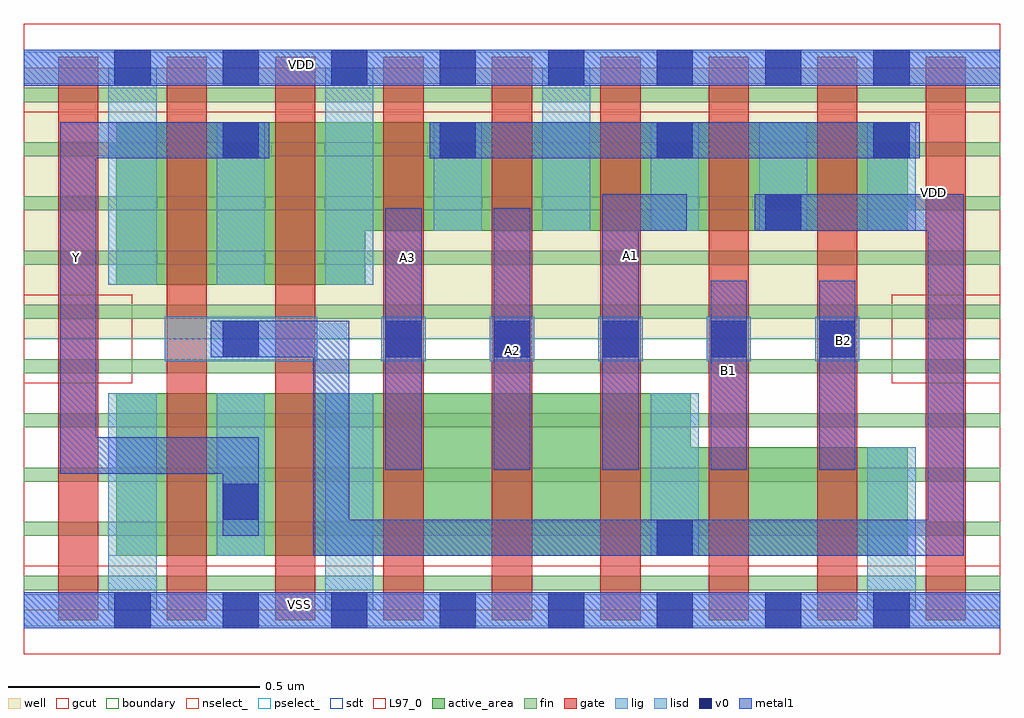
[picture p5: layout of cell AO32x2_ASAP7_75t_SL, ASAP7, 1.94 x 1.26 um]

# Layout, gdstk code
import gdstk
lib = gdstk.Library(unit=1e-6, precision=2.5e-10)
def R(c, l, rs):  # rectangles x0, y0, x1, y1
    for r in rs: c.add(gdstk.rectangle(r[:2], r[2:], *l))
def A(c, l, x, y, w, h, nx, ny, dx, dy):  # array of equal rectangles
    R(c, l, [(x+i*dx, y+j*dy, x+i*dx+w, y+j*dy+h) for i in range(nx) for j in range(ny)])
def P(c, l, *ps):  # polygons
    for p in ps: c.add(gdstk.Polygon(p, *l))
well = (1, 0)
fin = (2, 0)
gate = (7, 0)
gcut = (10, 0)
active_area = (11, 0)
nselect_ = (12, 0)
pselect_ = (13, 0)
lig = (16, 0)
lisd = (17, 0)
v0 = (18, 0)
metal1 = (19, 0)
sdt = (88, 0)
L97_0 = (97, 0)
boundary = (100, 0)

ao32x2_asap7_75t_sl = lib.new_cell('AO32x2_ASAP7_75t_SL')
R(ao32x2_asap7_75t_sl, well, [(0,0.54,1.944,1.08)])
A(ao32x2_asap7_75t_sl, fin, 0, 0.04, 1.944, 0.028, 1, 10, 0, 0.108)
A(ao32x2_asap7_75t_sl, gate, 0.068, -0.02, 0.08, 1.122, 9, 1, 0.216, 0)
R(ao32x2_asap7_75t_sl, gcut, [(0,-0.088,1.944,0.088), (0,0.452,0.216,0.628), (1.728,0.452,1.944,0.628), (0,0.992,1.944,1.168)])
P(ao32x2_asap7_75t_sl, active_area, [(1.76,0.324),(1.328,0.324),(1.328,0.432),(0.184,0.432),(0.184,0.108),(1.76,0.108)],
  [(1.76,0.972),(0.184,0.972),(0.184,0.648),(0.68,0.648),(0.68,0.756),(1.76,0.756)])
R(ao32x2_asap7_75t_sl, nselect_, [(0,0,1.944,0.54)])
R(ao32x2_asap7_75t_sl, pselect_, [(0,0.54,1.944,1.08)])
A(ao32x2_asap7_75t_sl, lig, 0.712, 0.496, 0.088, 0.088, 5, 1, 0.216, 0)
R(ao32x2_asap7_75t_sl, lig, [(0,-0.032,1.944,0.032), (0.28,0.496,0.584,0.584), (0,1.048,1.944,1.112)])
A(ao32x2_asap7_75t_sl, lisd, 1.248, 0.756, 0.096, 0.216, 3, 1, 0.216, 0)
R(ao32x2_asap7_75t_sl, lisd, [(0.168,0,0.264,0.432), (0.6,0,0.696,0.432), (1.68,0,1.776,0.324), (0.384,0.108,0.48,0.432), (1.248,0.108,1.344,0.432), (0.168,0.648,0.264,1.08), (0.384,0.648,0.48,0.972), (0.6,0.648,0.696,1.08), (0.816,0.756,0.912,0.972), (1.032,0.756,1.128,1.08)])
A(ao32x2_asap7_75t_sl, v0, 0.18, -0.036, 0.072, 0.072, 8, 2, 0.216, 1.08)
A(ao32x2_asap7_75t_sl, v0, 0.72, 0.504, 0.072, 0.072, 5, 1, 0.216, 0)
A(ao32x2_asap7_75t_sl, v0, 0.396, 0.9, 0.072, 0.072, 4, 1, 0.432, 0)
R(ao32x2_asap7_75t_sl, v0, [(1.26,0.108,1.332,0.18), (0.396,0.18,0.468,0.252), (0.396,0.504,0.468,0.576), (1.476,0.756,1.548,0.828)])
R(ao32x2_asap7_75t_sl, metal1, [(0,-0.036,1.944,0.036), (0.72,0.28,0.792,0.8), (0.936,0.28,1.008,0.8), (1.368,0.28,1.44,0.656), (1.584,0.28,1.656,0.656), (0.808,0.9,1.784,0.972), (0,1.044,1.944,1.116)])
P(ao32x2_asap7_75t_sl, metal1, [(1.872,0.828),(1.456,0.828),(1.456,0.756),(1.8,0.756),(1.8,0.18),(0.648,0.18),(0.648,0.576),(0.372,0.576),(0.372,0.504),(0.576,0.504),(0.576,0.108),(1.872,0.108)],
  [(1.32,0.828),(1.152,0.828),(1.152,0.28),(1.224,0.28),(1.224,0.756),(1.32,0.756)],
  [(0.488,0.972),(0.072,0.972),(0.072,0.272),(0.396,0.272),(0.396,0.148),(0.468,0.148),(0.468,0.344),(0.144,0.344),(0.144,0.9),(0.488,0.9)])
A(ao32x2_asap7_75t_sl, sdt, 0.168, 0.108, 0.096, 0.324, 3, 2, 0.216, 0.54)
A(ao32x2_asap7_75t_sl, sdt, 0.816, 0.756, 0.096, 0.216, 5, 1, 0.216, 0)
R(ao32x2_asap7_75t_sl, sdt, [(1.248,0.108,1.344,0.432), (1.68,0.108,1.776,0.324)])
R(ao32x2_asap7_75t_sl, L97_0, [(0,0,1.944,1.08)])
R(ao32x2_asap7_75t_sl, boundary, [(0,0,1.944,1.08)])
ao32x2_asap7_75t_sl.add(gdstk.Label('B2', (1.632,0.538), layer=19, texttype=251))
ao32x2_asap7_75t_sl.add(gdstk.Label('B1', (1.404,0.478), layer=19, texttype=251))
ao32x2_asap7_75t_sl.add(gdstk.Label('A3', (0.764,0.702), layer=19, texttype=251))
ao32x2_asap7_75t_sl.add(gdstk.Label('A2', (0.972,0.518), layer=19, texttype=251))
ao32x2_asap7_75t_sl.add(gdstk.Label('A1', (1.208,0.706), layer=19, texttype=251))
ao32x2_asap7_75t_sl.add(gdstk.Label('VSS', (0.548,0.012), layer=19, texttype=251))
ao32x2_asap7_75t_sl.add(gdstk.Label('VDD', (0.552,1.086), layer=19, texttype=251))
ao32x2_asap7_75t_sl.add(gdstk.Label('Y', (0.104,0.702), layer=19, texttype=251))
ao32x2_asap7_75t_sl.add(gdstk.Label('VDD', (1.812,0.832), layer=1, texttype=251))
ao32x2_asap7_75t_sl.add(gdstk.Label('VSS', (2.088,0.828), layer=3, texttype=251))

lib.write_gds('AO32x2_ASAP7_75t_SL.gds')
